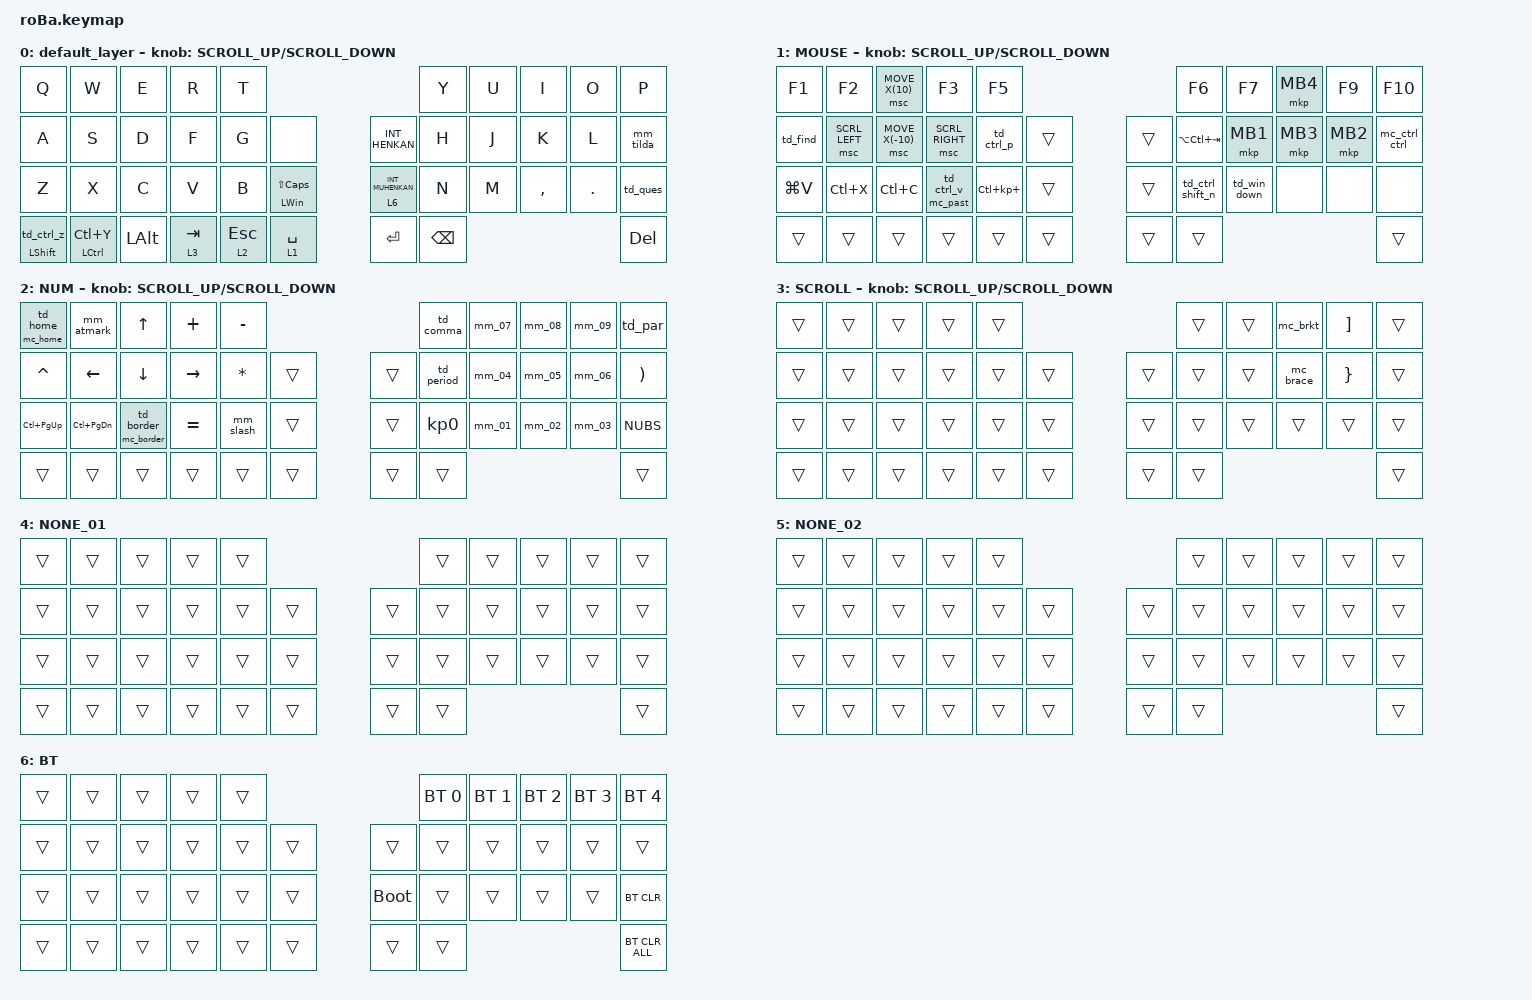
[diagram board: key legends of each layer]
#include <behaviors.dtsi>
#include <dt-bindings/zmk/bt.h>
#include <dt-bindings/zmk/keys.h>
#include <dt-bindings/zmk/pointing.h>

&mt {
    flavor = "balanced";
    quick-tap-ms = <0>;
};

&trackball {
    automouse-layer = <4>;
    scroll-layers = <5>;

    // arrows {
    //     layers = <3>;
    //     bindings =
    //         <&kp RIGHT_ARROW>,
    //         <&kp LEFT_ARROW>,
    //         <&kp UP_ARROW>,
    //         <&kp DOWN_ARROW>;
    //     tick = <10>;
    //     wait-ms = <5>;
    //     tap-ms = <5>;
    // };
};

/ {
    combos {
        compatible = "zmk,combos";

        tab {
            bindings = <&kp TAB>;
            key-positions = <11 12>;
        };

        shift_tab {
            bindings = <&kp LS(TAB)>;
            key-positions = <12 13>;
        };

        muhennkann {
            bindings = <&to_layer_0 INT_MUHENKAN>;
            key-positions = <11 10>;
        };

        double_quotation {
            bindings = <&kp DOUBLE_QUOTES>;
            key-positions = <20 21>;
        };

        eq {
            bindings = <&kp EQUAL>;
            key-positions = <24 25>;
        };
    };

    macros {
        to_layer_0: to_layer_0 {
            compatible = "zmk,behavior-macro-one-param";
            #binding-cells = <1>;
            bindings = <&to 0 &macro_param_1to1 &kp MACRO_PLACEHOLDER>;
            label = "TO_LAYER_0";
        };

        mc_ctrl_ctrl: mc_ctrl_ctrl {
            compatible = "zmk,behavior-macro";
            #binding-cells = <0>;
            bindings = <&kp LCTRL &kp LCTRL>;
            label = "MC_CTRL_CTRL";
        };

        mc_past: mc_past {
            compatible = "zmk,behavior-macro";
            #binding-cells = <0>;
            bindings = <&kp LEFT_ALT &kp H &kp V &kp T>;
            label = "MC_PAST";
        };

        mc_par: mc_par {
            compatible = "zmk,behavior-macro";
            #binding-cells = <0>;
            bindings = <&kp LPAR &kp RPAR &kp LEFT_ARROW>;
            label = "MC_PAR";
        };

        mc_brkt: mc_brkt {
            compatible = "zmk,behavior-macro";
            #binding-cells = <0>;
            bindings = <&kp LEFT_BRACKET &kp RIGHT_BRACKET &kp LEFT>;
            label = "MC_BRKT";
        };

        mc_brace: mc_brace {
            compatible = "zmk,behavior-macro";
            #binding-cells = <0>;
            bindings = <&kp LEFT_BRACE &kp RIGHT_BRACE &kp LEFT>;
            label = "MC_BRACE";
        };

        mc_border: mc_border {
            compatible = "zmk,behavior-macro";
            #binding-cells = <0>;
            bindings = <&kp LEFT_ALT &kp H &kp B &kp A>;
            label = "MC_BORDER";
        };

        mc_home: mc_home {
            compatible = "zmk,behavior-macro";
            #binding-cells = <0>;
            bindings =
                <&macro_press>,
                <&kp LCTRL>,
                <&macro_tap>,
                <&kp HOME>,
                <&macro_release>,
                <&kp LCTRL>;

            label = "MC_HOME";
        };
    };

    behaviors {
        lt_to_layer_0: lt_to_layer_0 {
            compatible = "zmk,behavior-hold-tap";
            label = "LAYER_TAP_TO_0";
            bindings = <&mo>, <&to_layer_0>;

            #binding-cells = <2>;
            tapping-term-ms = <200>;
        };

        td_hyphen: td_hyphen {
            compatible = "zmk,behavior-tap-dance";
            label = "TD_HYPHEN";
            #binding-cells = <0>;
            bindings = <&kp MINUS>, <&kp UNDERSCORE>;
        };

        mm_tilda: mm_tilda {
            compatible = "zmk,behavior-mod-morph";
            label = "MM_TILDA";
            bindings = <&td_hyphen>, <&kp TILDE>;

            #binding-cells = <0>;
            mods = <(MOD_LSFT)>;
        };

        td_ques: td_ques {
            compatible = "zmk,behavior-tap-dance";
            label = "TD_QUES";
            #binding-cells = <0>;
            bindings = <&kp QUESTION>, <&kp EXCLAMATION>;
        };

        td_ctrl_z: td_ctrl_z {
            compatible = "zmk,behavior-tap-dance";
            label = "TD_CTRL_Z";
            #binding-cells = <0>;
            bindings = <&none>, <&kp LC(Z)>;
        };

        hl_shift: hl_shift {
            compatible = "zmk,behavior-hold-tap";
            label = "HL_SHIFT";
            bindings = <&kp>, <&td_ctrl_z>;

            #binding-cells = <2>;
            tapping-term-ms = <200>;
        };

        td_find: td_find {
            compatible = "zmk,behavior-tap-dance";
            label = "TD_FIND";
            #binding-cells = <0>;
            bindings = <&kp LC(F)>, <&kp LC(H)>;
        };

        td_ctrl_p: td_ctrl_p {
            compatible = "zmk,behavior-tap-dance";
            label = "TD_CTRL_P";
            #binding-cells = <0>;
            bindings = <&kp LC(P)>, <&kp LC(SEMICOLON)>;
        };

        td_ctrl_v: td_ctrl_v {
            compatible = "zmk,behavior-tap-dance";
            label = "TD_CTRL_V";
            #binding-cells = <0>;
            bindings = <&kp LC(V)>, <&kp LC(LS(V))>;
        };

        hl_past: hl_past {
            compatible = "zmk,behavior-hold-tap";
            label = "HL_PAST";
            bindings = <&mc_past>, <&td_ctrl_v>;

            #binding-cells = <2>;
            tapping-term-ms = <200>;
        };

        td_ctrl_shift_n: td_ctrl_shift_n {
            compatible = "zmk,behavior-tap-dance";
            label = "TD_CTRL_SHIFT_N";
            #binding-cells = <0>;
            bindings = <&kp LC(LS(N))>, <&kp LC(RS(PLUS))>;
        };

        td_win_down: td_win_down {
            compatible = "zmk,behavior-tap-dance";
            label = "TD_WIN_DOWN";
            #binding-cells = <0>;
            bindings = <&kp LG(DOWN)>, <&kp LG(HOME)>;
        };

        td_period: td_period {
            compatible = "zmk,behavior-tap-dance";
            label = "TD_PERIOD";
            #binding-cells = <0>;
            bindings = <&kp PERIOD>, <&kp COLON>;
        };

        td_comma: td_comma {
            compatible = "zmk,behavior-tap-dance";
            label = "TD_COMMA";
            #binding-cells = <0>;
            bindings = <&kp COMMA>, <&kp SEMICOLON>;
        };

        td_par: td_par {
            compatible = "zmk,behavior-tap-dance";
            label = "TD_PAR";
            #binding-cells = <0>;
            bindings = <&kp LEFT_PARENTHESIS>, <&mc_par>;
        };

        td_brkt: td_brkt {
            compatible = "zmk,behavior-tap-dance";
            label = "TD_BRKT";
            #binding-cells = <0>;
            bindings = <&kp LEFT_BRACKET>, <&mc_brkt>;
        };

        td_brace: td_brace {
            compatible = "zmk,behavior-tap-dance";
            label = "TD_BRACE";
            #binding-cells = <0>;
            bindings = <&kp LEFT_BRACE>, <&mc_brace>;
        };

        mm_01: mm_01 {
            compatible = "zmk,behavior-mod-morph";
            label = "MM_01";
            bindings = <&kp KP_N1>, <&kp LS(EXCLAMATION)>;

            #binding-cells = <0>;
            mods = <(MOD_LSFT)>;
        };

        mm_02: mm_02 {
            compatible = "zmk,behavior-mod-morph";
            label = "MM_02";
            bindings = <&kp KP_N2>, <&kp DOUBLE_QUOTES>;

            #binding-cells = <0>;
            mods = <(MOD_LSFT)>;
        };

        mm_03: mm_03 {
            compatible = "zmk,behavior-mod-morph";
            label = "MM_03";
            bindings = <&kp KP_N3>, <&kp HASH>;

            #binding-cells = <0>;
            mods = <(MOD_LSFT)>;
        };

        mm_04: mm_04 {
            compatible = "zmk,behavior-mod-morph";
            label = "MM_04";
            bindings = <&kp KP_N4>, <&kp DOLLAR>;

            #binding-cells = <0>;
            mods = <(MOD_LSFT)>;
        };

        mm_05: mm_05 {
            compatible = "zmk,behavior-mod-morph";
            label = "MM_05";
            bindings = <&kp KP_N5>, <&kp DOLLAR>;

            #binding-cells = <0>;
            mods = <(MOD_LSFT)>;
        };

        mm_06: mm_06 {
            compatible = "zmk,behavior-mod-morph";
            label = "MM_06";
            bindings = <&kp KP_N6>, <&kp DOLLAR>;

            #binding-cells = <0>;
            mods = <(MOD_LSFT)>;
        };

        mm_07: mm_07 {
            compatible = "zmk,behavior-mod-morph";
            label = "MM_07";
            bindings = <&kp KP_N7>, <&kp SQT>;

            #binding-cells = <0>;
            mods = <(MOD_LSFT)>;
        };

        mm_08: mm_08 {
            compatible = "zmk,behavior-mod-morph";
            label = "MM_08";
            bindings = <&kp KP_N8>, <&kp RS(LEFT_PARENTHESIS)>;

            #binding-cells = <0>;
            mods = <(MOD_LSFT)>;
        };

        mm_09: mm_09 {
            compatible = "zmk,behavior-mod-morph";
            label = "MM_09";
            bindings = <&kp KP_N9>, <&kp RS(RIGHT_PARENTHESIS)>;

            #binding-cells = <0>;
            mods = <(MOD_LSFT)>;
        };

        mm_slash: mm_slash {
            compatible = "zmk,behavior-mod-morph";
            label = "MM_SLASH";
            bindings = <&kp SLASH>, <&kp NON_US_BACKSLASH>;

            #binding-cells = <0>;
            mods = <(MOD_LSFT)>;
        };

        mm_atmark: mm_atmark {
            compatible = "zmk,behavior-mod-morph";
            label = "MM_ATMARK";
            bindings = <&kp AT_SIGN>, <&kp GRAVE>;

            #binding-cells = <0>;
            mods = <(MOD_LSFT)>;
        };

        td_border: td_border {
            compatible = "zmk,behavior-tap-dance";
            label = "TD_BORDER";
            #binding-cells = <0>;
            bindings = <&kp LC(LS(AMPERSAND))>, <&kp LS(LC(UNDERSCORE))>;
        };

        hl_border: hl_border {
            compatible = "zmk,behavior-hold-tap";
            label = "HL_BORDER";
            bindings = <&mc_border>, <&td_border>;

            #binding-cells = <2>;
            tapping-term-ms = <200>;
        };

        td_home: td_home {
            compatible = "zmk,behavior-tap-dance";
            label = "TD_HOME";
            #binding-cells = <0>;
            bindings = <&kp HOME>, <&kp END>;
        };

        hl_home: hl_home {
            compatible = "zmk,behavior-hold-tap";
            label = "HL_HOME";
            bindings = <&mc_home>, <&td_home>;

            #binding-cells = <2>;
            tapping-term-ms = <200>;
        };
    };

    keymap {
        compatible = "zmk,keymap";

        default_layer {
            bindings = <
&kp Q                   &kp W            &kp E         &kp R      &kp T                                                     &kp Y          &kp U  &kp I      &kp O    &kp P
&kp A                   &kp S            &kp D         &kp F      &kp G      &none                      &kp INT_HENKAN      &kp H          &kp J  &kp K      &kp L    &mm_tilda
&kp Z                   &kp X            &kp C         &kp V      &kp B      &mt LEFT_WIN LS(CAPS)      &lt 6 INT_MUHENKAN  &kp N          &kp M  &kp COMMA  &kp DOT  &td_ques
&hl_shift LEFT_SHIFT 0  &mt LCTRL LC(Y)  &kp LEFT_ALT  &lt 3 TAB  &lt 2 ESC  &lt 1 SPACE                &kp ENTER           &kp BACKSPACE                             &kp DEL
            >;

            sensor-bindings = <&inc_dec_kp K_SCROLL_UP K_SCROLL_DOWN>;
        };

        MOUSE {
            bindings = <
&kp F1     &kp F2          &msc MOVE_X(10)   &kp F3           &kp F5                               &kp F6            &kp F7        &mkp MB4  &kp F9    &kp F10
&td_find   &msc SCRL_LEFT  &msc MOVE_X(-10)  &msc SCRL_RIGHT  &td_ctrl_p       &trans      &trans  &kp LA(LC(TAB))   &mkp MB1      &mkp MB3  &mkp MB2  &mc_ctrl_ctrl
&kp LG(V)  &kp LC(X)       &kp LC(C)         &hl_past 0 0     &kp LC(KP_PLUS)  &trans      &trans  &td_ctrl_shift_n  &td_win_down  &none     &none     &none
&trans     &trans          &trans            &trans           &trans           &trans      &trans  &trans                                              &trans
            >;

            sensor-bindings = <&inc_dec_kp K_SCROLL_UP K_SCROLL_DOWN>;
        };

        NUM {
            bindings = <
&hl_home 0 0   &mm_atmark         &kp UP_ARROW    &kp PLUS   &kp MINUS                         &td_comma   &mm_07  &mm_08  &mm_09  &td_par
&kp CARET      &kp LEFT_ARROW     &kp DOWN_ARROW  &kp RIGHT  &kp ASTERISK  &trans      &trans  &td_period  &mm_04  &mm_05  &mm_06  &kp RIGHT_PARENTHESIS
&kp LC(PG_UP)  &kp LC(PAGE_DOWN)  &hl_border 0 0  &kp EQUAL  &mm_slash     &trans      &trans  &kp KP_N0   &mm_01  &mm_02  &mm_03  &kp NUBS
&trans         &trans             &trans          &trans     &trans        &trans      &trans  &trans                              &trans
            >;

            sensor-bindings = <&inc_dec_kp K_SCROLL_UP K_SCROLL_DOWN>;
        };

        SCROLL {
            bindings = <
&trans  &trans  &trans  &trans  &trans                      &trans  &trans  &mc_brkt   &kp RIGHT_BRACKET  &trans
&trans  &trans  &trans  &trans  &trans  &trans      &trans  &trans  &trans  &mc_brace  &kp RIGHT_BRACE    &trans
&trans  &trans  &trans  &trans  &trans  &trans      &trans  &trans  &trans  &trans     &trans             &trans
&trans  &trans  &trans  &trans  &trans  &trans      &trans  &trans                                        &trans
            >;

            sensor-bindings = <&inc_dec_kp K_SCROLL_UP K_SCROLL_DOWN>;
        };

        NONE_01 {
            bindings = <
&trans  &trans  &trans  &trans  &trans                      &trans  &trans  &trans  &trans  &trans
&trans  &trans  &trans  &trans  &trans  &trans      &trans  &trans  &trans  &trans  &trans  &trans
&trans  &trans  &trans  &trans  &trans  &trans      &trans  &trans  &trans  &trans  &trans  &trans
&trans  &trans  &trans  &trans  &trans  &trans      &trans  &trans                          &trans
            >;
        };

        NONE_02 {
            bindings = <
&trans  &trans  &trans  &trans  &trans                      &trans  &trans  &trans  &trans  &trans
&trans  &trans  &trans  &trans  &trans  &trans      &trans  &trans  &trans  &trans  &trans  &trans
&trans  &trans  &trans  &trans  &trans  &trans      &trans  &trans  &trans  &trans  &trans  &trans
&trans  &trans  &trans  &trans  &trans  &trans      &trans  &trans                          &trans
            >;
        };

        BT {
            bindings = <
&trans  &trans  &trans  &trans  &trans                           &bt BT_SEL 0  &bt BT_SEL 1  &bt BT_SEL 2  &bt BT_SEL 3  &bt BT_SEL 4
&trans  &trans  &trans  &trans  &trans  &trans      &trans       &trans        &trans        &trans        &trans        &trans
&trans  &trans  &trans  &trans  &trans  &trans      &bootloader  &trans        &trans        &trans        &trans        &bt BT_CLR
&trans  &trans  &trans  &trans  &trans  &trans      &trans       &trans                                                  &bt BT_CLR_ALL
            >;
        };
    };
};
